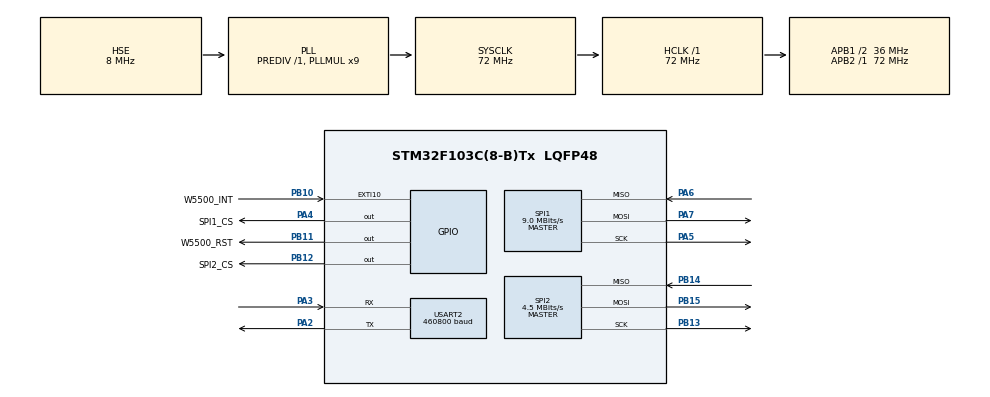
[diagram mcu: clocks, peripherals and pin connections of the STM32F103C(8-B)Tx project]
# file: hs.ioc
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Dma.Request0=SPI1_TX
Dma.Request1=USART2_RX
Dma.SPI1_TX.0.Direction=DMA_MEMORY_TO_PERIPH
Dma.SPI1_TX.0.Instance=DMA1_Channel3
Dma.SPI1_TX.0.MemDataAlignment=DMA_MDATAALIGN_BYTE
Dma.SPI1_TX.0.MemInc=DMA_MINC_ENABLE
Dma.SPI1_TX.0.Mode=DMA_NORMAL
Dma.SPI1_TX.0.PeriphDataAlignment=DMA_PDATAALIGN_BYTE
Dma.SPI1_TX.0.PeriphInc=DMA_PINC_DISABLE
Dma.SPI1_TX.0.Priority=DMA_PRIORITY_LOW
Dma.USART2_RX.1.Direction=DMA_PERIPH_TO_MEMORY
Dma.USART2_RX.1.Instance=DMA1_Channel6
Dma.USART2_RX.1.MemDataAlignment=DMA_MDATAALIGN_BYTE
Dma.USART2_RX.1.MemInc=DMA_MINC_ENABLE
Dma.USART2_RX.1.Mode=DMA_CIRCULAR
Dma.USART2_RX.1.PeriphDataAlignment=DMA_PDATAALIGN_BYTE
Dma.USART2_RX.1.PeriphInc=DMA_PINC_DISABLE
Dma.USART2_RX.1.Priority=DMA_PRIORITY_LOW
Mcu.Family=STM32F1
Mcu.Name=STM32F103C(8-B)Tx
Mcu.Package=LQFP48
NVIC.DMA1_Channel3_IRQn=true\:0\:0\:false\:false\:true\:false\:true\:true
NVIC.DMA1_Channel6_IRQn=true\:0\:0\:false\:false\:true\:false\:true\:true
NVIC.EXTI15_10_IRQn=true\:0\:0\:false\:false\:true\:true\:true\:true
NVIC.PriorityGroup=NVIC_PRIORITYGROUP_4
NVIC.TIM2_IRQn=true\:1\:0\:true\:false\:true\:true\:true\:true
NVIC.USART2_IRQn=true\:0\:0\:false\:false\:true\:true\:true\:true
PA13.Mode=Serial_Wire
PA13.Signal=SYS_JTMS-SWDIO
PA14.Mode=Serial_Wire
PA14.Signal=SYS_JTCK-SWCLK
PA2.Mode=Asynchronous
PA2.Signal=USART2_TX
PA3.Mode=Asynchronous
PA3.Signal=USART2_RX
PA4.GPIO_Label=SPI1_CS
PA4.Signal=GPIO_Output
PA5.Mode=Full_Duplex_Master
PA5.Signal=SPI1_SCK
PA6.Mode=Full_Duplex_Master
PA6.Signal=SPI1_MISO
PA7.Mode=Full_Duplex_Master
PA7.Signal=SPI1_MOSI
PB10.GPIO_Label=W5500_INT
PB10.GPIO_ModeDefaultEXTI=GPIO_MODE_IT_FALLING
PB10.Signal=GPXTI10
PB11.GPIO_Label=W5500_RST
PB11.Signal=GPIO_Output
PB12.GPIO_Label=SPI2_CS
PB12.Signal=GPIO_Output
PB13.Mode=Full_Duplex_Master
PB13.Signal=SPI2_SCK
PB14.Mode=Full_Duplex_Master
PB14.Signal=SPI2_MISO
PB15.Mode=Full_Duplex_Master
PB15.Signal=SPI2_MOSI
PD0-OSC_IN.Mode=HSE-External-Oscillator
PD0-OSC_IN.Signal=RCC_OSC_IN
PD1-OSC_OUT.Mode=HSE-External-Oscillator
PD1-OSC_OUT.Signal=RCC_OSC_OUT
ProjectManager.HeapSize=0x200
ProjectManager.StackSize=0x400
ProjectManager.TargetToolchain=CMake
RCC.AHBFreq_Value=72000000
RCC.APB1CLKDivider=RCC_HCLK_DIV2
RCC.APB1Freq_Value=36000000
RCC.APB1TimFreq_Value=72000000
RCC.APB2Freq_Value=72000000
RCC.APB2TimFreq_Value=72000000
RCC.HCLKFreq_Value=72000000
RCC.PLLMUL=RCC_PLL_MUL9
RCC.PLLSourceVirtual=RCC_PLLSOURCE_HSE
RCC.SYSCLKFreq_VALUE=72000000
RCC.SYSCLKSource=RCC_SYSCLKSOURCE_PLLCLK
RCC.USBFreq_Value=72000000
SPI1.BaudRatePrescaler=SPI_BAUDRATEPRESCALER_8
SPI1.CLKPhase=SPI_PHASE_1EDGE
SPI1.CLKPolarity=SPI_POLARITY_LOW
SPI1.CalculateBaudRate=9.0 MBits/s
SPI1.Direction=SPI_DIRECTION_2LINES
SPI1.Mode=SPI_MODE_MASTER
SPI1.VirtualType=VM_MASTER
SPI2.BaudRatePrescaler=SPI_BAUDRATEPRESCALER_8
SPI2.CLKPhase=SPI_PHASE_2EDGE
SPI2.CLKPolarity=SPI_POLARITY_HIGH
SPI2.CalculateBaudRate=4.5 MBits/s
SPI2.Direction=SPI_DIRECTION_2LINES
SPI2.Mode=SPI_MODE_MASTER
SPI2.VirtualType=VM_MASTER
TIM2.Period=1000-1
TIM2.Prescaler=72-1
USART2.BaudRate=460800
USART2.VirtualMode=VM_ASYNC
VP_TIM2_VS_ClockSourceINT.Mode=Internal
board=custom

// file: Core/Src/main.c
/* USER CODE BEGIN Header */
/**
  ******************************************************************************
  * @file           : main.c
  * @brief          : Main program body
  ******************************************************************************
  * @attention
  *
  * Copyright (c) 2026 STMicroelectronics.
  * All rights reserved.
  *
  * This software is licensed under terms that can be found in the LICENSE file
  * in the root directory of this software component.
  * If no LICENSE file comes with this software, it is provided AS-IS.
  *
  ******************************************************************************
  */
/* USER CODE END Header */
#include "main.h"
#include "dma.h"
#include "spi.h"
#include "tim.h"
#include "usart.h"
#include "gpio.h"

/* USER CODE BEGIN Includes */
#include "w5500.h"
#include "usart.h"
#include <string.h>
#include "sensor_types.h"
#include "modbus_tcp.h"
#include "rs485.h"
#include "rs485_cmd.h"
#include "flash_storage.h"
#include "calibration.h"
#include "lha7668.h"
#include "self_test.h"
#include "filter.h"
/* USER CODE END Includes */

/* USER CODE BEGIN PD */
#define ADC_SAMPLING_RATE_0       0
#define ADC_SAMPLING_RATE_3       3

/* USER CODE END PD */

/* USER CODE BEGIN PV */
static volatile uint32_t g_tick_ms = 0;

/* Shared global state (declared in sensor_types.h) */
volatile sensor_data_t   g_sensor;
volatile system_state_t  g_sys;
config_t                 g_config = {
    .mac        = {0x00,0x08,0xDC,0x01,0x02,0x03},
    .ip         = {192,168,1,12},
    .subnet     = {255,255,255,0},
    .gateway    = {192,168,1,1},
    .sn         = "HS-01234567",
    .fw_version = 0x0100,
};
decouple_matrix_t        g_matrix;
threshold_data_t         g_threshold; /* overload/range thresholds (not in Flash) */
lhl_lha7668_ctx_t lha7668_ctx = { 0 };  /* LHA7668B official driver handle */
/* USER CODE END PV */

void SystemClock_Config(void);

/* USER CODE BEGIN 0 */
static uint32_t int_adcData(void);

#define ADC_DATA_BUFF_LEN       64
#define ADC_CHANNEL_NUM         6
#define KILOGRAM_TO_NEWTON      9.8

uint8_t output_interface = 0;
uint8_t socket_connect_num[4] = { 0 };

static uint8_t adc_data_int_count = 0;
static uint8_t adc_data_usr_count = 0;
static uint32_t adc_data_buff[ADC_DATA_BUFF_LEN][6] = { 0 };

static float adc_data_calculate(uint8_t index)
{
    return (float)((int32_t)adc_data_buff[adc_data_usr_count][index] - 0x800000) * (1.0f / 8388608.0f) * 2500;
}

float matrix[6][6] = { {0.298418, -0.211604, -0.529767, -0.012232, -0.178473, 0.211071 },
                        {0.004134, 0.211038, -0.006878, 0.007002, -0.001183, -0.001670 },
                        {0.006217, -0.000427, 0.558141, 0.003760, -0.004378, -0.142885 },
                        {-0.000174, -0.000562, 0.001114, 0.001136, 0.000010, -0.000292 },
                        {-0.000243, -0.000483, -0.003015, -0.000066, -0.001470, 0.001025 },
                        {0.000317, -0.000204, -0.000423, -0.000031, -0.000158, 0.001769 }};

static void adc_data_proc(float data[6])
{
    // int i = 0;
    // if (g_sys.data_format == 0) {
    //     for (i = 0; i < ADC_CHANNEL_NUM; i++) {
    //         g_sensor.force[i] = data[i];
    //     }
    // } else if (g_sys.data_format == 1) {
    //     g_sensor.force[0] = matrix[0][0] * data[0] / KILOGRAM_TO_NEWTON + matrix[0][1] * data[1] / KILOGRAM_TO_NEWTON +
    //                 matrix[0][2] * data[2] / KILOGRAM_TO_NEWTON + matrix[0][3] * data[3] / KILOGRAM_TO_NEWTON +
    //                 matrix[0][4] * data[4] / KILOGRAM_TO_NEWTON + matrix[0][5] * data[5] / KILOGRAM_TO_NEWTON;

    //     g_sensor.force[1] = matrix[1][0] * data[0] / KILOGRAM_TO_NEWTON + matrix[1][1] * data[1] / KILOGRAM_TO_NEWTON +
    //                 matrix[1][2] * data[2] / KILOGRAM_TO_NEWTON + matrix[1][3] * data[3] / KILOGRAM_TO_NEWTON +
    //                 matrix[1][4] * data[4] / KILOGRAM_TO_NEWTON + matrix[1][5] * data[5] / KILOGRAM_TO_NEWTON;

    //     g_sensor.force[2] = matrix[2][0] * data[0] / KILOGRAM_TO_NEWTON + matrix[2][1] * data[1] / KILOGRAM_TO_NEWTON +
    //                 matrix[2][2] * data[2] / KILOGRAM_TO_NEWTON + matrix[2][3] * data[3] / KILOGRAM_TO_NEWTON +
    //                 matrix[2][4] * data[4] / KILOGRAM_TO_NEWTON + matrix[2][5] * data[5] / KILOGRAM_TO_NEWTON;

    //     g_sensor.force[3] = matrix[3][0] * data[0] / KILOGRAM_TO_NEWTON + matrix[3][1] * data[1] / KILOGRAM_TO_NEWTON +
    //                 matrix[3][2] * data[2] / KILOGRAM_TO_NEWTON + matrix[3][3] * data[3] / KILOGRAM_TO_NEWTON +
    //                 matrix[3][4] * data[4] / KILOGRAM_TO_NEWTON + matrix[3][5] * data[5] / KILOGRAM_TO_NEWTON;

    //     g_sensor.force[4] = matrix[4][0] * data[0] / KILOGRAM_TO_NEWTON + matrix[4][1] * data[1] / KILOGRAM_TO_NEWTON +
    //                 matrix[4][2] * data[2] / KILOGRAM_TO_NEWTON + matrix[4][3] * data[3] / KILOGRAM_TO_NEWTON +
    //                 matrix[4][4] * data[4] / KILOGRAM_TO_NEWTON + matrix[4][5] * data[5] / KILOGRAM_TO_NEWTON;

    //     g_sensor.force[5] = matrix[5][0] * data[0] / KILOGRAM_TO_NEWTON + matrix[5][1] * data[1] / KILOGRAM_TO_NEWTON +
    //                 matrix[5][2] * data[2] / KILOGRAM_TO_NEWTON + matrix[5][3] * data[3] / KILOGRAM_TO_NEWTON +
    //                 matrix[5][4] * data[4] / KILOGRAM_TO_NEWTON + matrix[5][5] * data[5] / KILOGRAM_TO_NEWTON;
    // } else if (g_sys.data_format == 2) {
    //     g_sensor.force[0] = matrix[0][0] * data[0] + matrix[0][1] * data[1] +
    //                 matrix[0][2] * data[2] + matrix[0][3] * data[3] +
    //                 matrix[0][4] * data[4] + matrix[0][5] * data[5];

    //     g_sensor.force[1] = matrix[1][0] * data[0] + matrix[1][1] * data[1] +
    //                 matrix[1][2] * data[2] + matrix[1][3] * data[3] +
    //                 matrix[1][4] * data[4] + matrix[1][5] * data[5];

    //     g_sensor.force[2] = matrix[2][0] * data[0] + matrix[2][1] * data[1] +
    //                 matrix[2][2] * data[2] + matrix[2][3] * data[3] +
    //                 matrix[2][4] * data[4] + matrix[2][5] * data[5];

    //     g_sensor.force[3] = matrix[3][0] * data[0] + matrix[3][1] * data[1] +
    //                 matrix[3][2] * data[2] + matrix[3][3] * data[3] +
    //                 matrix[3][4] * data[4] + matrix[3][5] * data[5];

    //     g_sensor.force[4] = matrix[4][0] * data[0] + matrix[4][1] * data[1] +
    //                 matrix[4][2] * data[2] + matrix[4][3] * data[3] +
    //                 matrix[4][4] * data[4] + matrix[4][5] * data[5];

    //     g_sensor.force[5] = matrix[5][0] * data[0] + matrix[5][1] * data[1] +
    //                 matrix[5][2] * data[2] + matrix[5][3] * data[3] +
    //                 matrix[5][4] * data[4] + matrix[5][5] * data[5];
    // }
    int i = 0;
    if (g_sys.data_format == 0) {
        for (i = 0; i < ADC_CHANNEL_NUM; i++) {
            g_sensor.force[i] = data[i];
        }
    } else if (g_sys.data_format == 1) {
        g_sensor.force[0] = g_matrix.m[0][0] * data[0] / KILOGRAM_TO_NEWTON + g_matrix.m[0][1] * data[1] / KILOGRAM_TO_NEWTON +
                    g_matrix.m[0][2] * data[2] / KILOGRAM_TO_NEWTON + g_matrix.m[0][3] * data[3] / KILOGRAM_TO_NEWTON +
                    g_matrix.m[0][4] * data[4] / KILOGRAM_TO_NEWTON + g_matrix.m[0][5] * data[5] / KILOGRAM_TO_NEWTON;

        g_sensor.force[1] = g_matrix.m[1][0] * data[0] / KILOGRAM_TO_NEWTON + g_matrix.m[1][1] * data[1] / KILOGRAM_TO_NEWTON +
                    g_matrix.m[1][2] * data[2] / KILOGRAM_TO_NEWTON + g_matrix.m[1][3] * data[3] / KILOGRAM_TO_NEWTON +
                    g_matrix.m[1][4] * data[4] / KILOGRAM_TO_NEWTON + g_matrix.m[1][5] * data[5] / KILOGRAM_TO_NEWTON;

        g_sensor.force[2] = g_matrix.m[2][0] * data[0] / KILOGRAM_TO_NEWTON + g_matrix.m[2][1] * data[1] / KILOGRAM_TO_NEWTON +
                    g_matrix.m[2][2] * data[2] / KILOGRAM_TO_NEWTON + g_matrix.m[2][3] * data[3] / KILOGRAM_TO_NEWTON +
                    g_matrix.m[2][4] * data[4] / KILOGRAM_TO_NEWTON + g_matrix.m[2][5] * data[5] / KILOGRAM_TO_NEWTON;

        g_sensor.force[3] = g_matrix.m[3][0] * data[0] / KILOGRAM_TO_NEWTON + g_matrix.m[3][1] * data[1] / KILOGRAM_TO_NEWTON +
                    g_matrix.m[3][2] * data[2] / KILOGRAM_TO_NEWTON + g_matrix.m[3][3] * data[3] / KILOGRAM_TO_NEWTON +
                    g_matrix.m[3][4] * data[4] / KILOGRAM_TO_NEWTON + g_matrix.m[3][5] * data[5] / KILOGRAM_TO_NEWTON;

        g_sensor.force[4] = g_matrix.m[4][0] * data[0] / KILOGRAM_TO_NEWTON + g_matrix.m[4][1] * data[1] / KILOGRAM_TO_NEWTON +
                    g_matrix.m[4][2] * data[2] / KILOGRAM_TO_NEWTON + g_matrix.m[4][3] * data[3] / KILOGRAM_TO_NEWTON +
                    g_matrix.m[4][4] * data[4] / KILOGRAM_TO_NEWTON + g_matrix.m[4][5] * data[5] / KILOGRAM_TO_NEWTON;

        g_sensor.force[5] = g_matrix.m[5][0] * data[0] / KILOGRAM_TO_NEWTON + g_matrix.m[5][1] * data[1] / KILOGRAM_TO_NEWTON +
                    g_matrix.m[5][2] * data[2] / KILOGRAM_TO_NEWTON + g_matrix.m[5][3] * data[3] / KILOGRAM_TO_NEWTON +
                    g_matrix.m[5][4] * data[4] / KILOGRAM_TO_NEWTON + g_matrix.m[5][5] * data[5] / KILOGRAM_TO_NEWTON;
    } else if (g_sys.data_format == 2) {
        g_sensor.force[0] = g_matrix.m[0][0] * data[0] + g_matrix.m[0][1] * data[1] +
                    g_matrix.m[0][2] * data[2] + g_matrix.m[0][3] * data[3] +
                    g_matrix.m[0][4] * data[4] + g_matrix.m[0][5] * data[5];

        g_sensor.force[1] = g_matrix.m[1][0] * data[0] + g_matrix.m[1][1] * data[1] +
                    g_matrix.m[1][2] * data[2] + g_matrix.m[1][3] * data[3] +
                    g_matrix.m[1][4] * data[4] + g_matrix.m[1][5] * data[5];

        g_sensor.force[2] = g_matrix.m[2][0] * data[0] + g_matrix.m[2][1] * data[1] +
                    g_matrix.m[2][2] * data[2] + g_matrix.m[2][3] * data[3] +
                    g_matrix.m[2][4] * data[4] + g_matrix.m[2][5] * data[5];

        g_sensor.force[3] = g_matrix.m[3][0] * data[0] + g_matrix.m[3][1] * data[1] +
                    g_matrix.m[3][2] * data[2] + g_matrix.m[3][3] * data[3] +
                    g_matrix.m[3][4] * data[4] + g_matrix.m[3][5] * data[5];

        g_sensor.force[4] = g_matrix.m[4][0] * data[0] + g_matrix.m[4][1] * data[1] +
                    g_matrix.m[4][2] * data[2] + g_matrix.m[4][3] * data[3] +
                    g_matrix.m[4][4] * data[4] + g_matrix.m[4][5] * data[5];

        g_sensor.force[5] = g_matrix.m[5][0] * data[0] + g_matrix.m[5][1] * data[1] +
                    g_matrix.m[5][2] * data[2] + g_matrix.m[5][3] * data[3] +
                    g_matrix.m[5][4] * data[4] + g_matrix.m[5][5] * data[5];
    }

    for (i = 0; i < ADC_CHANNEL_NUM; i++) {
        g_sensor.force[i] = FloatFilter_UpdateChannel(i, g_sensor.force[i]);
    }
}

/* W5500 callback: TIM2 period elapsed -> increment tick counter */
void HAL_TIM_PeriodElapsedCallback(TIM_HandleTypeDef *htim)
{
    if (htim->Instance == TIM2) {
        g_tick_ms++;

        if (g_tick_ms % 3 == 0) {
            adc_data_buff[adc_data_int_count][0] = int_adcData();
            adc_data_buff[adc_data_int_count][1] = int_adcData();
            adc_data_buff[adc_data_int_count][2] = int_adcData();
            adc_data_buff[adc_data_int_count][3] = int_adcData();
            adc_data_buff[adc_data_int_count][4] = int_adcData();
            adc_data_buff[adc_data_int_count][5] = int_adcData();
            adc_data_int_count++;
            if (adc_data_int_count >= ADC_DATA_BUFF_LEN) {
                adc_data_int_count = 0;
            }
        }
    }
}

/* W5500 network parameters — fetched from g_config (loaded from Flash or defaults) */

#define W5500_PORT        502

/* Per-socket connection context */
typedef struct {
    uint8_t  connected;        /* 1 = ESTABLISHED */
    uint32_t last_tick;        /* 上次发送时间戳 (ms) */
} sock_ctx_t;

static void uart_debug(const char *msg)
{
    HAL_UART_Transmit(&huart2, (const uint8_t *)msg, (uint16_t)strlen(msg), 100);
}

static void uart_debug_ip(const char *prefix, const uint8_t *ip)
{
    /* Print prefix + dotted-decimal IP without snprintf dependency */
    static const char dots[] = ".";
    static const char crlf[] = "\r\n";
    char num[4];
    uint8_t pos;

    HAL_UART_Transmit(&huart2, (const uint8_t *)prefix, (uint16_t)strlen(prefix), 100);
    for (uint8_t i = 0; i < 4; i++) {
        uint8_t v = ip[i];
        pos = 0;
        if (v >= 100) { num[pos++] = '0' + (v / 100); v %= 100; }
        if (v >= 10)  { num[pos++] = '0' + (v / 10);  v %= 10;  }
        num[pos++] = '0' + v;
        num[pos] = '\0';
        HAL_UART_Transmit(&huart2, (uint8_t *)num, pos, 100);
        HAL_UART_Transmit(&huart2, (const uint8_t *)((i < 3) ? dots : crlf),
                          (uint16_t)((i < 3) ? 1 : 2), 100);
    }
}

static void uart_debug_hex8(const char *prefix, uint8_t val)
{
    char buf[5];
    buf[0] = "0123456789ABCDEF"[val >> 4];
    buf[1] = "0123456789ABCDEF"[val & 0x0F];
    buf[2] = '\r';
    buf[3] = '\n';
    buf[4] = '\0';
    HAL_UART_Transmit(&huart2, (const uint8_t *)prefix, (uint16_t)strlen(prefix), 100);
    HAL_UART_Transmit(&huart2, (uint8_t *)buf, 4, 100);
}

void LHA7668_Platform_Init(void *handle)
{
    lhl_lha7668_ctx_t *dev_ctx = (lhl_lha7668_ctx_t *)handle;
    dev_ctx->io.cs.port = GPIOB;
    dev_ctx->io.cs.pin = GPIO_PIN_12;
}

void LHA7668_Platform_Set(const void *port, const uint32_t pin)
{
    HAL_GPIO_WritePin((GPIO_TypeDef *)port, pin, GPIO_PIN_SET);
}

void LHA7668_Platform_Reset(const void *port, const uint32_t pin)
{
    HAL_GPIO_WritePin((GPIO_TypeDef *)port, pin, GPIO_PIN_RESET);
}

int32_t LHA7668_Platform_ReadWrite(uint8_t *txdata, uint8_t *rxdata, const uint16_t size)
{
    HAL_SPI_TransmitReceive(&hspi2, txdata, rxdata, size, 0xFFFF);

    return 0;
}

static uint32_t int_adcData(void)
{
    LHL_LHA7668_Start(&lha7668_ctx, LHA7668_MODE_SINGLE_SHOT);

    while (LHL_LHA7668_Get_Flag(&lha7668_ctx, LHA7668_STATUS_RDY_FLAG) == LHA7668_SET);

    LHL_LHA7668_Get_Data(&lha7668_ctx);

    return lha7668_ctx.data;
}

float adcData(void)
{
    LHL_LHA7668_Start(&lha7668_ctx, LHA7668_MODE_SINGLE_SHOT);

    while (LHL_LHA7668_Get_Flag(&lha7668_ctx, LHA7668_STATUS_RDY_FLAG) == LHA7668_SET);

    LHL_LHA7668_Get_Data(&lha7668_ctx);

    return LHL_LHA7668_Get_mVoltage(lha7668_ctx.data, LHA7668_BIPOLAR, LHA7668_PGA_X128, 2500);
}

void lha7668_init(uint8_t rate)
{
    LHL_LHA7668_Init(&lha7668_ctx);
    LHL_LHA7668_Reset(&lha7668_ctx);

    uint8_t whoamI = LHL_LHA7668_Get_ID(&lha7668_ctx);
    if (whoamI != LHA7668B_8) {
        uart_debug("Equipment error!\r\n");
        while(1) {
        }
    }

    LHL_LHA7668_Stop(&lha7668_ctx);

    lha7668_ctx.CHANNEL.ENABLE = LHA7668_ENABLE;
    lha7668_ctx.CHANNEL.SETUP = LHA7668_SETUP_0;
    lha7668_ctx.CHANNEL.AINP = LHA7668_AIN0;
    lha7668_ctx.CHANNEL.AINM = LHA7668_AIN1;
    LHL_LHA7668_Set_Channel(&lha7668_ctx, LHA7668_CHANNEL_0);
    lha7668_ctx.CHANNEL.ENABLE = LHA7668_ENABLE;
    lha7668_ctx.CHANNEL.SETUP = LHA7668_SETUP_0;
    lha7668_ctx.CHANNEL.AINP = LHA7668_AIN2;
    lha7668_ctx.CHANNEL.AINM = LHA7668_AIN3;
    LHL_LHA7668_Set_Channel(&lha7668_ctx, LHA7668_CHANNEL_1);
    lha7668_ctx.CHANNEL.ENABLE = LHA7668_ENABLE;
    lha7668_ctx.CHANNEL.SETUP = LHA7668_SETUP_0;
    lha7668_ctx.CHANNEL.AINP = LHA7668_AIN4;
    lha7668_ctx.CHANNEL.AINM = LHA7668_AIN5;
    LHL_LHA7668_Set_Channel(&lha7668_ctx, LHA7668_CHANNEL_2);
    lha7668_ctx.CHANNEL.ENABLE = LHA7668_ENABLE;
    lha7668_ctx.CHANNEL.SETUP = LHA7668_SETUP_0;
    lha7668_ctx.CHANNEL.AINP = LHA7668_AIN6;
    lha7668_ctx.CHANNEL.AINM = LHA7668_AIN7;
    LHL_LHA7668_Set_Channel(&lha7668_ctx, LHA7668_CHANNEL_3);
    lha7668_ctx.CHANNEL.ENABLE = LHA7668_ENABLE;
    lha7668_ctx.CHANNEL.SETUP = LHA7668_SETUP_0;
    lha7668_ctx.CHANNEL.AINP = LHA7668_AIN8;
    lha7668_ctx.CHANNEL.AINM = LHA7668_AIN9;
    LHL_LHA7668_Set_Channel(&lha7668_ctx, LHA7668_CHANNEL_4);
    lha7668_ctx.CHANNEL.ENABLE = LHA7668_ENABLE;
    lha7668_ctx.CHANNEL.SETUP = LHA7668_SETUP_0;
    lha7668_ctx.CHANNEL.AINP = LHA7668_AIN10;
    lha7668_ctx.CHANNEL.AINM = LHA7668_AIN11;
    LHL_LHA7668_Set_Channel(&lha7668_ctx, LHA7668_CHANNEL_5);

    lha7668_ctx.SETUP.BIPOLAR = LHA7668_BIPOLAR;
    lha7668_ctx.SETUP.AIN_BUFP = LHA7668_ENABLE;
    lha7668_ctx.SETUP.AIN_BUFM = LHA7668_ENABLE;
    lha7668_ctx.SETUP.REF_SEL = LHA7668_REF_REFIN1;
    lha7668_ctx.SETUP.REF_BUFP = LHA7668_DISABLE;
    lha7668_ctx.SETUP.REF_BUFM = LHA7668_DISABLE;
    lha7668_ctx.SETUP.PGA = LHA7668_PGA_X128;
    lha7668_ctx.SETUP.FILTER = LHA7668_FILTER_SINC3;
    lha7668_ctx.SETUP.FS = rate;
    LHL_LHA7668_Set_Setup(&lha7668_ctx, LHA7668_SETUP_0);
    LHL_LHA7668_Set_Setup(&lha7668_ctx, LHA7668_SETUP_1);
    LHL_LHA7668_Set_Setup(&lha7668_ctx, LHA7668_SETUP_2);
    LHL_LHA7668_Set_Setup(&lha7668_ctx, LHA7668_SETUP_3);
    LHL_LHA7668_Set_Setup(&lha7668_ctx, LHA7668_SETUP_4);
    LHL_LHA7668_Set_Setup(&lha7668_ctx, LHA7668_SETUP_5);
    lha7668_ctx.ADC_CTRL.POWER_MODE = LHA7668_FULL_POWER;
    lha7668_ctx.ADC_CTRL.CLK_SEL = LHA7668_CLK_INTL;
    lha7668_ctx.ADC_CTRL.DATA_STATUS = LHA7668_ENABLE;
    lha7668_ctx.ADC_CTRL.CS_EN = LHA7668_DISABLE;
    lha7668_ctx.ADC_CTRL.DOUT_RDY_DEL = LHA7668_DISABLE;
    LHL_LHA7668_Set_ADC(&lha7668_ctx);
}

static sock_ctx_t g_sock[W5500_SOCK_COUNT];

static void w5500_network_init(void)
{
    uart_debug("--- W5500 Network Config ---\r\n");

    /* Configure network */
    uart_debug("Configuring network: IP=...\r\n");
    w5500_set_mac(g_config.mac);
    w5500_set_ip(g_config.ip);
    w5500_set_gateway(g_config.gateway);
    w5500_set_subnet(g_config.subnet);

    /* Read back IP for verification */
    uint8_t ip_check[4];
    w5500_read_buf(W5500_BS_COMMON, W5500_SIPR, ip_check, 4);
    uart_debug_ip("IP readback: ", ip_check);

    /* Wait for PHY link (auto-negotiation takes 1-3 seconds) */
    uart_debug("Waiting for PHY link...\r\n");
    {
        uint32_t tout = 3000;
        uint8_t  link_up = 0;
        while (tout > 0) {
            uint8_t phy = w5500_read_byte(W5500_BS_COMMON, W5500_PHYCFGR);
            if (phy & 0x01) { link_up = 1; break; }
            HAL_Delay(10);
            tout -= 10;
        }
        uart_debug(link_up ? "PHY link UP\r\n" : "PHY link DOWN (continuing...)\r\n");
    }

    /* Configure ALL 8 socket buffers at once (W5500 batch-allocation requirement) */
    w5500_configure_buffers();

    /* Initialize all used sockets — listen on port 502 for multi-client support */
    static const char *init_fail[] = {"S0 init FAIL SR=","S1 init FAIL SR=","S2 init FAIL SR=","S3 init FAIL SR="};
    static const char *listen_fail[] = {"S0 listen FAIL SR=","S1 listen FAIL SR=","S2 listen FAIL SR=","S3 listen FAIL SR="};
    for (uint8_t i = 0; i < W5500_SOCK_COUNT; i++) {
        g_sock[i].connected = 0;
        g_sock[i].last_tick = 0;
        uint8_t sr = w5500_socket_init(i, W5500_PORT);
        if (sr != SOCK_INIT) {
            uart_debug_hex8(init_fail[i], sr);
            Error_Handler();
        }
        sr = w5500_socket_listen(i);
        if (sr != SOCK_LISTEN) {
            uart_debug_hex8(listen_fail[i], sr);
            Error_Handler();
        }
    }
    uart_debug("All sockets listening on port 502\r\n");
    uart_debug("--- W5500 Init Done ---\r\n");
}

/* ---- Modbus-TCP send callback (bridges modbus_tcp.c → w5500) ---- */
static void mb_tcp_send_cb(uint8_t sock, const uint8_t *data,
                           uint16_t len, void *ctx)
{
    (void)ctx;
    w5500_socket_send(sock, data, len);
}

/* ---- USART2 IDLE interrupt: feed DMA bytes into RS485 ring buffer ---- */
/*     Called before HAL_UART_IRQHandler to ensure CNDTR is read correctly */
void USART2_IRQHandler(void)
{
    if (__HAL_UART_GET_FLAG(&huart2, UART_FLAG_IDLE)) {
        __HAL_UART_CLEAR_IDLEFLAG(&huart2);
        if (huart2.hdmarx) {
            uint16_t rem = (uint16_t)__HAL_DMA_GET_COUNTER(huart2.hdmarx);
            rs485_rx_idle_cb(rem);
        }
    }
    HAL_UART_IRQHandler(&huart2);
}

/* ---- Continuous RS485 data send state ---- */
static uint32_t g_last_rs485_send_ms;

void send_string(uint8_t *str, uint16_t len)
{
    HAL_UART_Transmit(&huart2, (uint8_t *)str, len, 500);
}

uint8_t hex_buf_send[256] = { 0 };
uint8_t mb_buf_send[33] = { 0 };

#define HEX_BUF_SEND_OFFSET 5

static void rs485_send_continuous(void)
{
    uint32_t interval = (g_sys.freq_mode == 0) ? 2U : 1U;  /* 500Hz or 1kHz */
    if ((g_tick_ms - g_last_rs485_send_ms) >= interval) {
        g_last_rs485_send_ms = g_tick_ms;

        if (g_sys.debug_mode == 0) {
            if (output_interface == 1) {
                /* Build data frame: AA 55 00 [SEQ4B] [6×float32] 0D 0A */
                uint32_t seq = g_sys.frame_seq++;
                hex_buf_send[0] = RS485_CMD_CONT_DATA;
                hex_buf_send[1] = (uint8_t)(seq);
                hex_buf_send[2] = (uint8_t)(seq >> 8);
                hex_buf_send[3] = (uint8_t)(seq >> 16);
                hex_buf_send[4] = (uint8_t)(seq >> 24);
                for (int i = 0; i < 6; i++) {
                    float f = g_sensor.force[i];   /* read volatile once */
                    uint32_t u; memcpy(&u, &f, 4);
                    hex_buf_send[HEX_BUF_SEND_OFFSET + i * 4 + 0] = (uint8_t)(u);
                    hex_buf_send[HEX_BUF_SEND_OFFSET + i * 4 + 1] = (uint8_t)(u >> 8);
                    hex_buf_send[HEX_BUF_SEND_OFFSET + i * 4 + 2] = (uint8_t)(u >> 16);
                    hex_buf_send[HEX_BUF_SEND_OFFSET + i * 4 + 3] = (uint8_t)(u >> 24);
                }

                rs485_send_raw(hex_buf_send, 29);
            } else if (output_interface == 2) {
                for (int i = 0; i < 6; i++) {
                    float f = g_sensor.force[i];   /* read volatile once */
                    uint32_t u; memcpy(&u, &f, 4);
                    mb_buf_send[9 + i*4 + 0] = (uint8_t)(u);
                    mb_buf_send[9 + i*4 + 1] = (uint8_t)(u >> 8);
                    mb_buf_send[9 + i*4 + 2] = (uint8_t)(u >> 16);
                    mb_buf_send[9 + i*4 + 3] = (uint8_t)(u >> 24);
                }
                /* MBAP header is identical for every socket — build it once
                 * outside the loop instead of re-writing it per socket. */
                mb_buf_send[0] = 0x00;   /* TID hi  = 0x0000 (unsolicited) */
                mb_buf_send[1] = 0x00;   /* TID lo                         */
                mb_buf_send[2] = 0x00;   /* PID     = 0x0000               */
                mb_buf_send[3] = 0x00;
                mb_buf_send[4] = 0x00;   /* LEN     = 27 (UID+FC+BC+24)    */
                mb_buf_send[5] = 0x1B;
                mb_buf_send[6] = 0x01;   /* UID     = 0x01                 */
                mb_buf_send[7] = 0x03;   /* FC      = read holding regs    */
                mb_buf_send[8] = 0x18;   /* BYTE_CNT = 24                  */
                /* Gate on g_sock[].connected (maintained on every disconnect
                 * path), NOT on socket_connect_num[] — see the socket state
                 * machine below for why. Sending to a torn-down socket used to
                 * spin inside w5500_socket_send() for up to 2 s per frame and
                 * stall this loop. */
                for (uint8_t j = 0; j < W5500_SOCK_COUNT; j++) {
                    if (g_sock[j].connected) {
                        w5500_socket_send(j, mb_buf_send, 33);
                    }
                }
            }
        } else if (g_sys.debug_mode == 1) {
            for (int i = 0; i < 6; i++) {
                float f = g_sensor.force[i];   /* read volatile once */
                uint32_t u; memcpy(&u, &f, 4);
                hex_buf_send[i * 4 + 0] = (uint8_t)(u);
                hex_buf_send[i * 4 + 1] = (uint8_t)(u >> 8);
                hex_buf_send[i * 4 + 2] = (uint8_t)(u >> 16);
                hex_buf_send[i * 4 + 3] = (uint8_t)(u >> 24);
            }
            hex_buf_send[24] = 0x00;
            hex_buf_send[25] = 0x00;
            hex_buf_send[26] = 0x80;
            hex_buf_send[27] = 0x7F;
            just_float_send_raw(hex_buf_send, 28);
        }
    }
}

/* USER CODE END 0 */

int main(void)
{

  /* MCU Configuration--------------------------------------------------------*/

  /* Reset of all peripherals, Initializes the Flash interface and the Systick. */
  HAL_Init();

  /* Configure the system clock */
  SystemClock_Config();

  /* Initialize all configured peripherals */
  MX_GPIO_Init();
  MX_DMA_Init();
  MX_SPI1_Init();
  MX_SPI2_Init();
  MX_USART2_UART_Init();
  MX_TIM2_Init();
  /* USER CODE BEGIN 2 */
  /* Load persistent config / matrix / zero from Flash */
    // if (!flash_load_all()) {
    //     uart_debug("Flash empty — using NaN placeholders\r\n");
    //     /* Flash is empty / never written → fill matrix & zero with NaN
    //     * so all force outputs become NaN, clearly distinguishing
    //     * "uncalibrated" from "zero load" (which would output 0.0). */
    //     static const uint32_t nan_bits = 0x7FC00000U;
    //     float nan_val;
    //     memcpy(&nan_val, &nan_bits, 4);
    //     for (int i = 0; i < 6; i++) {
    //         g_sensor.force_zero[i] = 0;
    //         g_threshold.overload[i]  = nan_val;
    //         g_threshold.range_min[i] = nan_val;
    //         g_threshold.range_max[i] = nan_val;
    //         for (int j = 0; j < 6; j++) {
    //             g_matrix.m[i][j] = nan_val;
    //         }
    //     }
    // } else {
    //     uart_debug("Flash config loaded OK\r\n");
    // }
    calib_init();
    g_sys.data_format = 0;
    FloatFilter_Init();

    /* ================================================================
    *  BOOT SELF-TEST
    *  Check ADC, W5500, RS485, Flash in sequence.
    *  Results are stored in g_self_test and available via Modbus
    *  registers (MB_REG_ST_ERROR ~ MB_REG_ST_FLASH).
    * ================================================================ */
    uart_debug("\r\n>>> BOOT SELF-TEST START <<<\r\n");

    uart_debug("Resetting W5500...\r\n");
    if (!w5500_init()) {
        uart_debug("ERROR: W5500 not detected!\r\n");
    } else {
        uart_debug("W5500 OK (ver=0x04)\r\n");
    }

    /* Bind platform callbacks: SPI2, PB12(CS) */
    lha7668_init(ADC_SAMPLING_RATE_3);
    uart_debug("LHA7668 OK\r\n");

    /* 2. W5500 Ethernet self-test (SPI + version + PHY) */
    uart_debug("--- W5500 Ethernet self-test ---\r\n");
    uint32_t st_w5500 = self_test_w5500();
    if (st_w5500 == ST_ERR_NONE) {
        uart_debug("  W5500 SPI OK, ver=0x");
        uart_debug_hex8("", g_self_test.w5500_version);
    } else {
        uart_debug("  W5500 FAIL: flags=0x");
        uart_debug_hex8("", (uint8_t)(st_w5500 >> 8));
        uart_debug_hex8("", (uint8_t)(st_w5500));
        uart_debug("\r\n");
    }

    /* 3. RS485 self-test (USART + DMA) */
    uart_debug("--- RS485 self-test ---\r\n");
    uint32_t st_rs485 = self_test_rs485();
    uart_debug(st_rs485 == ST_ERR_NONE ?
        "  RS485 OK (USART+DMA)\r\n" :
        "  RS485 FAIL\r\n");

    /* 4. Flash storage self-test (magic + CRC + data validation) */
    uart_debug("--- Flash storage self-test ---\r\n");
    uint32_t st_flash = self_test_flash();
    if (st_flash == ST_ERR_NONE) {
        uart_debug("  Flash OK (magic+CRC+data)\r\n");
    } else {
        uart_debug("  Flash FAIL: ");
        if (st_flash & ST_ERR_FLASH_EMPTY) uart_debug("EMPTY ");
        if (st_flash & ST_ERR_FLASH_CRC)   uart_debug("CRC ");
        uart_debug("\r\n");
    }

    /* Print full structured report */
    self_test_print_report(&huart2);

    w5500_network_init();
    HAL_TIM_Base_Start_IT(&htim2);   /* Start 1kHz timer */
    rs485_init(&huart2, rs485_cmd_dispatch);
    g_last_rs485_send_ms = g_tick_ms;
  /* USER CODE END 2 */

  /* Infinite loop */
    while (1)
    {

    /* USER CODE BEGIN 3 */
        static uint32_t last_beat = 0;

        /* ---- Heartbeat ---- */
        if ((g_tick_ms - last_beat) >= 5000) {
            uart_debug(".\r\n");
            last_beat = g_tick_ms;
        }

        /* ================================================================
        *  ADC data acquisition (LHA7668B, non-blocking per-channel read)
        *
        *  The sequencer auto-cycles CH0→CH5 at ~200 SPS/ch (FS=0).
        *  We read one channel per loop iteration (DRDY-polling).
        *  When all 6 channels are updated, push through the calibration
        *  pipeline: raw mV → 20pt filter → U → F=K×U → F_zero subtract.
        * ================================================================ */
        {
            // static int   adc_sample_count = 0;
            float adc_tmp[ADC_CHANNEL_NUM] = { 0 };

            // /* Poll DRDY pin (PB13) — low = data ready */
            // if (HAL_GPIO_ReadPin(GPIOB, GPIO_PIN_13) == GPIO_PIN_RESET) {
            //     uint32_t raw = 0;
            //     uint8_t  ch  = 0;
            //     ch &= LHA7668_STATUS_CH_ACTIVE_MSK;

            //     if (ch < 6) {
            //         /* Sign-extend 24-bit two's complement → int32 */
            //         int32_t code;
            //         uint32_t raw24 = raw & 0x00FFFFFFu;
            //         if (raw24 & 0x00800000u)
            //         code = (int32_t)(raw24 | 0xFF000000u);
            //         else
            //         code = (int32_t)raw24;
            //         float mv = (float)code * (2500.0f / 8388608.0f);

            //         g_sensor.force_raw[ch] = mv;
            //         adc_sample_count++;

            //         if (adc_sample_count >= 6) {
            //             adc_sample_count = 0;
            //             /* Run full pipeline + save filtered mV for format=0 */
            //             calib_process_sample_with_mv((const float *)g_sensor.force_raw,
            //                                 (float *)g_sensor.force);

            //             /* Apply data-format conversion to g_sensor.force[]
            //             *   format=0 (mV)  → copy filtered mV (raw bridge voltage)
            //             *   format=1 (kg)  → N / 9.80665  (kg for force, kgm for torque)
            //             *   format=2 (N)   → leave as N/Nm (already correct)
            //             * Both RS485 continuous & Modbus-TCP read from g_sensor.force[] */
            //             if (g_sys.data_format == 0) {
            //                 /* mV mode: output filtered mV from ADC directly */
            //                 for (int i = 0; i < 6; i++)
            //                 g_sensor.force[i] = g_sensor.force_mv[i];
            //             } else if (g_sys.data_format == 1) {
            //                 /* kg / kgm mode: convert from N to kg */
            //                 static const float G = 9.80665f;
            //                 for (int i = 0; i < 6; i++)
            //                 g_sensor.force[i] /= G;
            //             }
            //             /* format=2 (N/Nm): no conversion needed */
            //         }
            //     }
            // }

            if (adc_data_usr_count != adc_data_int_count) {
                adc_data_usr_count = adc_data_int_count;
                for (uint8_t i = 0; i < ADC_CHANNEL_NUM; i++) {
                    adc_tmp[i] = adc_data_calculate(i);

                    if (g_sys.zero_calib_busy == 0) {
                        adc_tmp[i] -= g_sensor.force_zero[i];
                    }
                }

                if (g_sys.zero_calib_busy == 1) {
                    calib_zero_cale(adc_tmp);
                }

                adc_data_proc(adc_tmp);
            }
        }

        /* ---- Zero calibration: auto-detect completion & persist ---- */
        if (calib_zero_is_done()) {
            // uint8_t buf[28] = { 0 };
            // for (int i = 0; i < 6; i++) {
            //     float f = g_sensor.force[i];   /* read volatile once */
            //     uint32_t u; memcpy(&u, &f, 4);
            //     buf[2 + i * 4 + 0] = (uint8_t)(u);
            //     buf[2 + i * 4 + 1] = (uint8_t)(u >> 8);
            //     buf[2 + i * 4 + 2] = (uint8_t)(u >> 16);
            //     buf[2 + i * 4 + 3] = (uint8_t)(u >> 24);
            // }
            // buf[0] = 0xBB;
            // buf[1] = 0xCC;
            // buf[26] = 0xDD;
            // buf[27] = 0xEE;
            // rs485_send_raw(buf, 28);

            g_sys.zero_calib_busy = 0;
            calib_zero_over();
            flash_save_zero();
            uart_debug("Zero calib done — saved to Flash\r\n");
        }

        /* ================================================================
        *  Data output — target interface is output_interface:
        *      1 = RS485
        *      2 = Modbus-TCP
        *
        *  send_mode == 1 → continuous output
        *  send_mode == 2 → single-shot: emit exactly one frame, then stop
        * ================================================================ */
        if (g_sys.send_mode == 1) {
            rs485_send_continuous();
        } else if (g_sys.send_mode == 2) {
            /* Single-shot: emit exactly one data frame on the currently
             * selected interface, then auto-reset to the stopped state.
             * Triggered by a Modbus write to register 0x0003. */
            if (output_interface == 2) {
                /* ---- Modbus-TCP: one 33-byte FC03-style data frame ---- */
                mb_buf_send[0] = 0x00;   /* TID hi  = 0x0000 (unsolicited) */
                mb_buf_send[1] = 0x00;   /* TID lo                          */
                mb_buf_send[2] = 0x00;   /* PID     = 0x0000                */
                mb_buf_send[3] = 0x00;
                mb_buf_send[4] = 0x00;   /* LEN     = 27 (UID+FC+BC+24)     */
                mb_buf_send[5] = 0x1B;
                mb_buf_send[6] = 0x01;   /* UID     = 0x01                  */
                mb_buf_send[7] = 0x03;   /* FC      = read holding regs     */
                mb_buf_send[8] = 0x18;   /* BYTE_CNT = 24                   */
                for (int i = 0; i < 6; i++) {
                    float f = g_sensor.force[i];
                    uint32_t u; memcpy(&u, &f, 4);
                    mb_buf_send[9 + i * 4 + 0] = (uint8_t)(u);
                    mb_buf_send[9 + i * 4 + 1] = (uint8_t)(u >> 8);
                    mb_buf_send[9 + i * 4 + 2] = (uint8_t)(u >> 16);
                    mb_buf_send[9 + i * 4 + 3] = (uint8_t)(u >> 24);
                }
                /* Gate on g_sock[].connected — see the continuous-output path
                 * above for the rationale (socket_connect_num[] is not cleared
                 * on every disconnect path). */
                for (uint8_t j = 0; j < W5500_SOCK_COUNT; j++) {
                    if (g_sock[j].connected) {
                        w5500_socket_send(j, mb_buf_send, 33);
                    }
                }
            } else {
                /* ---- RS485: AA 55 [SEQ 4B] [6×float32 LE] 0D 0A ---- */
                uint8_t buf[31];
                uint32_t seq = g_sys.frame_seq++;
                buf[0] = RS485_CMD_CONT_DATA;
                buf[1] = (uint8_t)(seq);
                buf[2] = (uint8_t)(seq >> 8);
                buf[3] = (uint8_t)(seq >> 16);
                buf[4] = (uint8_t)(seq >> 24);
                for (int i = 0; i < 6; i++) {
                    float f = g_sensor.force[i];
                    uint32_t u; memcpy(&u, &f, 4);
                    buf[5 + i*4 + 0] = (uint8_t)(u);
                    buf[5 + i*4 + 1] = (uint8_t)(u >> 8);
                    buf[5 + i*4 + 2] = (uint8_t)(u >> 16);
                }
                rs485_send_raw(buf, 29);
            }
            g_sys.send_mode = 0;   /* auto-reset after single shot */
        } else {
            g_last_rs485_send_ms = g_tick_ms;   /* reset timer on stop */
        }

        /* ================================================================
        *  RS485: frame scanner (command handling)
        * ================================================================ */
        rs485_process();

        /* ================================================================
        *  Modbus-TCP: W5500 socket management + protocol processing
        * ================================================================ */
        static uint8_t last_sr[W5500_SOCK_COUNT] = {0};
        static uint8_t sock_inited[W5500_SOCK_COUNT] = {0};

        for (uint8_t i = 0; i < W5500_SOCK_COUNT; i++) {
            uint8_t ir = w5500_socket_ir(i);
            uint8_t sr = w5500_socket_status(i);

            /* ---- Connection established ---- */
            if (ir & Sn_IR_CON) {
                w5500_socket_ir_clear(i, Sn_IR_CON);
                g_sock[i].connected = 1;
                g_sock[i].last_tick = g_tick_ms;
                static const char *conn[] = {"S0 connected\r\n","S1 connected\r\n","S2 connected\r\n","S3 connected\r\n"};
                socket_connect_num[i] = 1;
                uart_debug(conn[i]);
            }

            /* NOTE: g_sock[i].connected and socket_connect_num[i] are two
             * views of the same thing and MUST be updated together. The data
             * output paths gate on g_sock[].connected, so every branch that
             * drops a connection has to clear it — including the two branches
             * that `continue` and therefore never reach the silent-disconnect
             * check further down. */
            if (sr == SOCK_ESTABLISHED && !g_sock[i].connected) {
                g_sock[i].connected = 1;
                socket_connect_num[i] = 1;
                g_sock[i].last_tick = g_tick_ms;
                uart_debug("Client connected (poll)\r\n");
            }

            /* ---- Disconnect ---- */
            if (ir & Sn_IR_DISCON) {
                w5500_socket_ir_clear(i, Sn_IR_DISCON);
                g_sock[i].connected = 0;
                socket_connect_num[i] = 0;
                w5500_socket_close(i);
                w5500_socket_init(i, W5500_PORT);
                w5500_socket_listen(i);
                sock_inited[i] = 1;
                last_sr[i] = w5500_socket_status(i);
                continue;
            }

            /* ---- Timeout ---- */
            if (ir & Sn_IR_TIMEOUT) {
                w5500_socket_ir_clear(i, Sn_IR_TIMEOUT);
                g_sock[i].connected = 0;
                socket_connect_num[i] = 0;
                w5500_socket_close(i);
                w5500_socket_init(i, W5500_PORT);
                w5500_socket_listen(i);
                sock_inited[i] = 1;
                last_sr[i] = w5500_socket_status(i);
                continue;
            }

            /* ---- Data received → Modbus-TCP processing ----
             *
             * 关键：**不要依赖 Sn_IR_RECV 的边沿，改为每轮直接查 RX 缓冲**。
             * SOCK_RECV 只在「数据落入 RX 缓冲」那一刻置位一次。旧实现的
             * 顺序是「先读数据、处理、最后清标志」—— 若在处理窗口内又来
             * 一个请求，新置位的标志会被随后的清除动作一并抹掉：数据明明
             * 躺在 RX 缓冲里，却再也没有事件来触发读取，只能等再下一个请求
             * 把它重新置位。上位机看到的就是「响应迟到整整一轮」甚至彻底
             * 超时（这也解释了为什么「读数据都出问题」看起来是随机的）。
             * 轮询不会丢事件；代价只是每轮每个 socket 多两次 SPI 寄存器读，
             * 500 Hz 主循环下可忽略。
             *
             * 同时用 *_stream() 逐帧处理：TCP 是字节流，一次取回的数据里
             * 可能粘着多个请求，只处理第一帧会静默丢弃其余请求。 */
            {
                uint8_t buf[MB_TCP_RX_BUF_SIZE];
                for (uint8_t guard = 0; guard < 4; guard++) {
                    /* 用 recv 的返回值，不要另外预读 Sn_RX_RSR：两处读到的
                     * 长度可能不一致（接收过程中寄存器会更新），按预读值
                     * 去处理就会越界读到未初始化数据。 */
                    uint16_t n = w5500_socket_recv(i, buf, sizeof(buf));
                    if (n == 0) break;
                    modbus_tcp_process_stream(i, buf, n, mb_tcp_send_cb, NULL);
                    if (n < sizeof(buf)) break;   /* 已读空 */
                }
            }
            if (ir & Sn_IR_RECV) {
                /* 数据已由上面的轮询取走，把标志清掉，不要让它在后面的
                 * 循环里被当成新事件（清早了也只是少一次无用轮询）。 */
                w5500_socket_ir_clear(i, Sn_IR_RECV);
            }

            /* ---- Silent disconnect detection ---- */
            if (sr != SOCK_ESTABLISHED && g_sock[i].connected) {
                g_sock[i].connected = 0;
                static const char *discon[] = {"S0 disconnected\r\n","S1 disconnected\r\n","S2 disconnected\r\n","S3 disconnected\r\n"};
                socket_connect_num[i] = 0;
                uart_debug(discon[i]);
            }

            /* ---- Recover closed sockets ---- */
            if ((sr == SOCK_CLOSED || sr == SOCK_CLOSE_WAIT) && sock_inited[i]) {
                if (sr != last_sr[i]) {
                    if (g_sock[i].connected) {
                        g_sock[i].connected = 0;
                        socket_connect_num[i] = 0;
                        w5500_socket_close(i);
                    }
                    w5500_socket_init(i, W5500_PORT);
                    w5500_socket_listen(i);
                    last_sr[i] = w5500_socket_status(i);
                }
            } else if (!sock_inited[i] && sr != 0) {
                last_sr[i] = sr;
                sock_inited[i] = 1;
            }
        }
    }
  /* USER CODE END 3 */
}

void SystemClock_Config(void)
{
  RCC_OscInitTypeDef RCC_OscInitStruct = {0};
  RCC_ClkInitTypeDef RCC_ClkInitStruct = {0};

  /** Initializes the RCC Oscillators according to the specified parameters
  * in the RCC_OscInitTypeDef structure.
  */
  RCC_OscInitStruct.OscillatorType = RCC_OSCILLATORTYPE_HSE;
  RCC_OscInitStruct.HSEState = RCC_HSE_ON;
  RCC_OscInitStruct.HSEPredivValue = RCC_HSE_PREDIV_DIV1;
  RCC_OscInitStruct.HSIState = RCC_HSI_ON;
  RCC_OscInitStruct.PLL.PLLState = RCC_PLL_ON;
  RCC_OscInitStruct.PLL.PLLSource = RCC_PLLSOURCE_HSE;
  RCC_OscInitStruct.PLL.PLLMUL = RCC_PLL_MUL9;
  if (HAL_RCC_OscConfig(&RCC_OscInitStruct) != HAL_OK)
  {
    Error_Handler();
  }

  /** Initializes the CPU, AHB and APB buses clocks
  */
  RCC_ClkInitStruct.ClockType = RCC_CLOCKTYPE_HCLK|RCC_CLOCKTYPE_SYSCLK
                              |RCC_CLOCKTYPE_PCLK1|RCC_CLOCKTYPE_PCLK2;
  RCC_ClkInitStruct.SYSCLKSource = RCC_SYSCLKSOURCE_PLLCLK;
  RCC_ClkInitStruct.AHBCLKDivider = RCC_SYSCLK_DIV1;
  RCC_ClkInitStruct.APB1CLKDivider = RCC_HCLK_DIV2;
  RCC_ClkInitStruct.APB2CLKDivider = RCC_HCLK_DIV1;

  if (HAL_RCC_ClockConfig(&RCC_ClkInitStruct, FLASH_LATENCY_2) != HAL_OK)
  {
    Error_Handler();
  }
}

void Error_Handler(void)
{
  __disable_irq();
  while (1)
  {
  }
}
